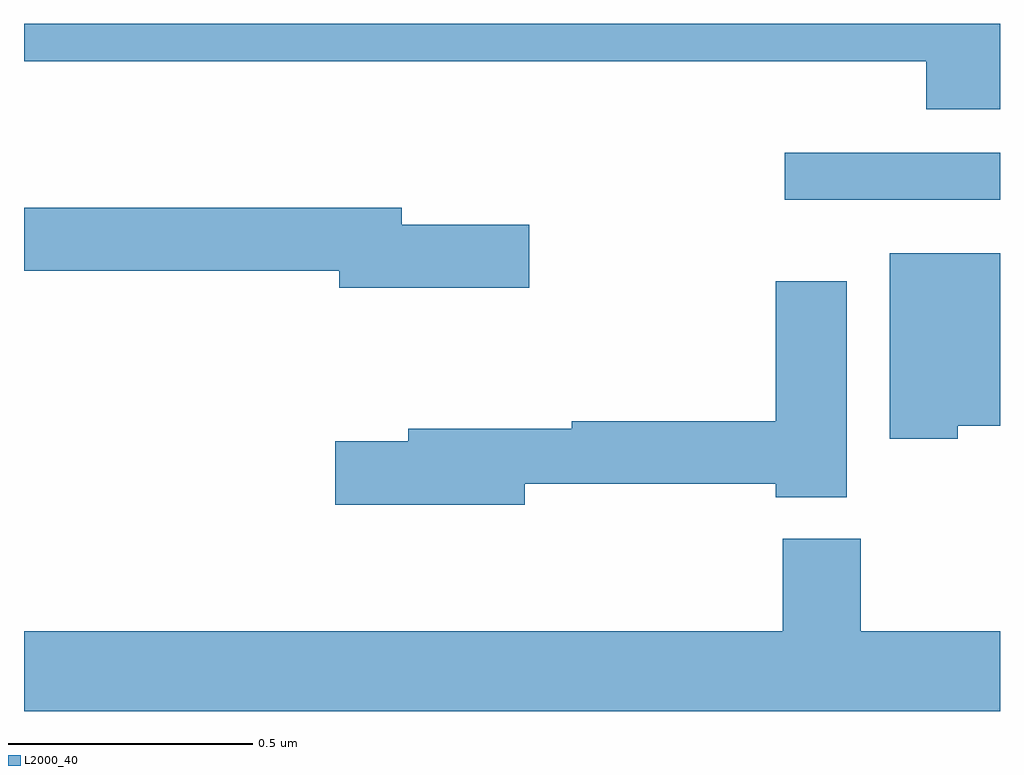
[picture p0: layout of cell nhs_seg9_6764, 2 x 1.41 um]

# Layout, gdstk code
import gdstk
lib = gdstk.Library(unit=1e-6, precision=1e-09)
def R(c, l, rs):  # rectangles x0, y0, x1, y1
    for r in rs: c.add(gdstk.rectangle(r[:2], r[2:], *l))
def P(c, l, *ps):  # polygons
    for p in ps: c.add(gdstk.Polygon(p, *l))
L2000_40 = (2000, 40)

nhs_seg9_6764 = lib.new_cell('nhs_seg9_6764')
R(nhs_seg9_6764, L2000_40, [(197.559,1192.14,198,1192.236)])
P(nhs_seg9_6764, L2000_40, [(198,1192.5),(196,1192.5),(196,1192.424),(197.849,1192.424),(197.849,1192.325),(198,1192.325)],
  [(197.035,1192.089),(196.774,1192.089),(196.774,1192.123),(196,1192.123),(196,1191.994),(196.646,1191.994),(196.646,1191.959),(197.035,1191.959)],
  [(197.913,1191.677),(198,1191.677),(198,1192.03),(197.774,1192.03),(197.774,1191.65),(197.913,1191.65)],
  [(197.026,1191.558),(197.54,1191.558),(197.54,1191.53),(197.686,1191.53),(197.686,1191.973),(197.54,1191.973),(197.54,1191.686),(197.122,1191.686),(197.122,1191.671),(196.787,1191.671),(196.787,1191.645),(196.638,1191.645),(196.638,1191.515),(197.026,1191.515)],
  [(198,1191.256),(197.715,1191.256),(197.715,1191.445),(197.555,1191.445),(197.555,1191.256),(196,1191.256),(196,1191.092),(198,1191.092)])

lib.write_gds('nhs_seg9_6764.gds')
